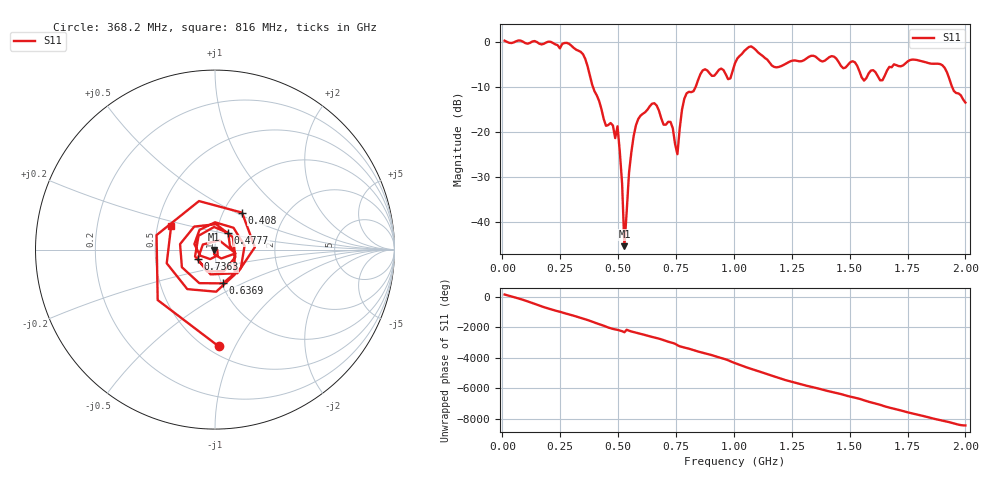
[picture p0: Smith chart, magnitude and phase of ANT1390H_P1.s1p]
!Created with skrf (http://scikit-rf.org).
# Hz S RI R 50.0
!freq ReS11 ImS11
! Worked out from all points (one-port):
!   201 points, 10 MHz to 2 GHz, reference 50 ohm
!   lowest |S11| = -45.3 dB at 527.4 MHz (marker M1), VSWR 1.01, Z = 49.5 - j0.11 ohm
!   |S11| at or under -10 dB: 391.7 MHz to 834.8 MHz (443.1 MHz wide, 72.3 % of centre); 1.943 GHz to end of sweep
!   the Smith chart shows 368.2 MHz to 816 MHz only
!   S11 on the Smith chart (normalised r, x): 368.2 MHz: 0.57, -0.86; 408 MHz: 1.23, +0.54; 477.6 MHz: 1.14, +0.21; 636.9 MHz: 1.01, -0.40; 736.4 MHz: 0.82, -0.09; 816 MHz: 0.59, +0.17
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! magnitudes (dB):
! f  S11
! 10 MHz  0.3
! 258.8 MHz  -0.5
! 368.2 MHz  -5.4
! 408 MHz  -11.9
! 447.8 MHz  -18.6
! 477.6 MHz  -18.5
! 497.6 MHz  -18.7
! 507.5 MHz  -24.3
! 517.5 MHz  -31.4
! 527.4 MHz  -45.3
! 547.3 MHz  -29.0
! 567.2 MHz  -20.9
! 636.9 MHz  -14.3
! 736.4 MHz  -19.1
! 756.2 MHz  -24.9
! 786.1 MHz  -12.6
! 816 MHz  -11.1
! 865.7 MHz  -6.3
! 975.1 MHz  -8.3
! 1.005 GHz  -4.7
! 1.075 GHz  -1.0
! 1.174 GHz  -5.5
! 1.254 GHz  -4.1
! 1.502 GHz  -4.5
! 1.632 GHz  -8.5
! 1.751 GHz  -4.3
! 1.901 GHz  -5.2
! 2 GHz  -13.5
